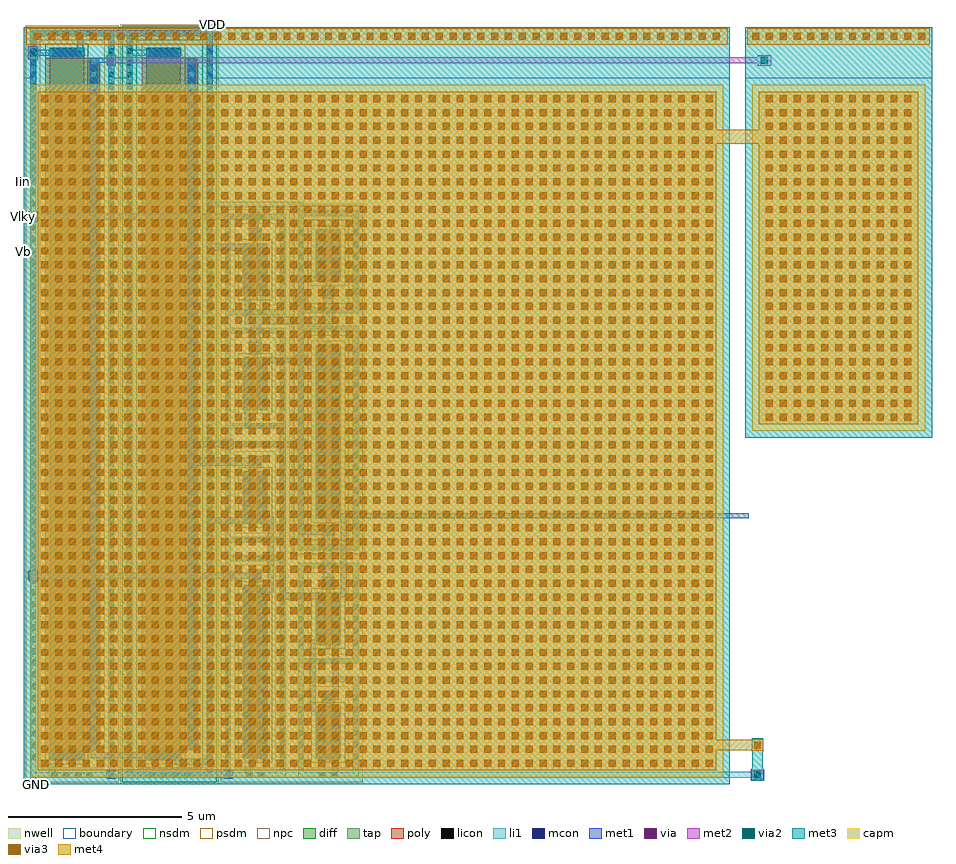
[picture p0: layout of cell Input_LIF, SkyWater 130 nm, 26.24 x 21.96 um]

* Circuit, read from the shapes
.subckt Input_LIF GND Iin VDD Vb Vlky
XM1 Iin sky130_fd_pr__nfet_01v8_84Z3BM_4/D GND GND sky130_fd_pr__nfet_01v8 w=1 l=20
XM2 sky130_fd_pr__nfet_01v8_BBX9LZ_3/D Vb GND GND sky130_fd_pr__nfet_01v8 w=5 l=0.15
XM3 sky130_fd_pr__nfet_01v8_BBX9LZ_3/D sky130_fd_pr__nfet_01v8_84Z3BM_2/D sky130_fd_pr__nfet_01v8_84Z3BM_4/D GND sky130_fd_pr__nfet_01v8 w=1.5 l=0.15
XM4 sky130_fd_pr__nfet_01v8_84Z3BM_2/D Iin sky130_fd_pr__nfet_01v8_84Z3BM_6/D GND sky130_fd_pr__nfet_01v8 w=1.5 l=0.15
XM5 GND Vlky Iin GND sky130_fd_pr__nfet_01v8 w=1.5 l=0.15
XM6 GND sky130_fd_pr__nfet_01v8_84Z3BM_7/D sky130_fd_pr__nfet_01v8_84Z3BM_6/D GND sky130_fd_pr__nfet_01v8 w=1.5 l=0.15
XM7 sky130_fd_pr__nfet_01v8_84Z3BM_7/D sky130_fd_pr__nfet_01v8_84Z3BM_2/D sky130_fd_pr__nfet_01v8_84Z3BM_6/D GND sky130_fd_pr__nfet_01v8 w=1.5 l=0.15
XM8 VDD sky130_fd_pr__nfet_01v8_84Z3BM_2/D sky130_fd_pr__nfet_01v8_84Z3BM_4/D VDD sky130_fd_pr__pfet_01v8 w=1 l=20
XM9 sky130_fd_pr__nfet_01v8_84Z3BM_7/D sky130_fd_pr__nfet_01v8_84Z3BM_2/D VDD VDD sky130_fd_pr__pfet_01v8 w=5 l=0.15
XM10 VDD Iin sky130_fd_pr__nfet_01v8_84Z3BM_2/D VDD sky130_fd_pr__pfet_01v8 w=1.5 l=0.15
XC11 GND Iin sky130_fd_pr__cap_mim_m3_1 w=20 l=20
XC12 GND sky130_fd_pr__nfet_01v8_84Z3BM_4/D sky130_fd_pr__cap_mim_m3_1 w=5 l=10
.ends

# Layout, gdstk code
from math import pi, radians
import gdstk
lib = gdstk.Library(unit=1e-6, precision=1e-09)
def R(c, l, rs):  # rectangles x0, y0, x1, y1
    for r in rs: c.add(gdstk.rectangle(r[:2], r[2:], *l))
def A(c, l, x, y, w, h, nx, ny, dx, dy):  # array of equal rectangles
    R(c, l, [(x+i*dx, y+j*dy, x+i*dx+w, y+j*dy+h) for i in range(nx) for j in range(ny)])
nwell = (64, 20)
diff = (65, 20)
tap = (65, 44)
poly = (66, 20)
licon = (66, 44)
li1 = (67, 20)
mcon = (67, 44)
met1 = (68, 20)
via = (68, 44)
met2 = (69, 20)
via2 = (69, 44)
met3 = (70, 20)
via3 = (70, 44)
met4 = (71, 20)
capm = (89, 44)
nsdm = (93, 44)
psdm = (94, 20)
npc = (95, 20)
boundary = (235, 4)

sky130_fd_pr__nfet_01v8_ = lib.new_cell('sky130_fd_pr__nfet_01v8_QXQH2M')
R(sky130_fd_pr__nfet_01v8_, diff, [(-10.29,-0.655,10.29,0.345)])
R(sky130_fd_pr__nfet_01v8_, tap, [(-10.8,-1.215,10.8,-1.045), (-10.8,-1.045,-10.63,1.045), (10.63,-1.045,10.8,1.045), (-10.8,1.045,10.8,1.215)])
R(sky130_fd_pr__nfet_01v8_, poly, [(-10,-0.785,10,0.785)])
A(sky130_fd_pr__nfet_01v8_, licon, -10.285, -1.215, 0.17, 0.17, 61, 2, 0.34, 2.26)
A(sky130_fd_pr__nfet_01v8_, licon, -10.8, -0.595, 0.17, 0.17, 1, 4, 0, 0.34)
A(sky130_fd_pr__nfet_01v8_, licon, 10.63, -0.595, 0.17, 0.17, 1, 4, 0, 0.34)
A(sky130_fd_pr__nfet_01v8_, licon, -10.23, -0.58, 0.17, 0.17, 1, 3, 0, 0.34)
A(sky130_fd_pr__nfet_01v8_, licon, 10.06, -0.58, 0.17, 0.17, 1, 3, 0, 0.34)
A(sky130_fd_pr__nfet_01v8_, licon, -9.775, 0.535, 0.17, 0.17, 58, 1, 0.34, 0)
R(sky130_fd_pr__nfet_01v8_, li1, [(-10.8,-1.215,10.8,-1.045), (-10.8,-1.045,-10.63,1.045), (10.63,-1.045,10.8,1.045), (-10.23,-0.675,-10.06,0.365), (10.06,-0.675,10.23,0.365), (-10,0.535,10,0.705), (-10.8,1.045,10.8,1.215)])
A(sky130_fd_pr__nfet_01v8_, mcon, -9.805, 0.535, 0.17, 0.17, 55, 1, 0.36, 0)
R(sky130_fd_pr__nfet_01v8_, mcon, [(-10.23,-0.42,-10.06,-0.25), (10.06,-0.42,10.23,-0.25), (-10.23,-0.06,-10.06,0.11), (10.06,-0.06,10.23,0.11)])
R(sky130_fd_pr__nfet_01v8_, met1, [(-10.26,-0.655,-10.03,0.345), (10.03,-0.655,10.26,0.345), (-9.98,0.505,9.98,0.735)])
R(sky130_fd_pr__nfet_01v8_, nsdm, [(-10.415,-0.78,10.415,0.47)])
R(sky130_fd_pr__nfet_01v8_, psdm, [(-10.925,-1.34,10.925,-0.92), (-10.925,-0.92,-10.505,0.92), (10.505,-0.92,10.925,0.92), (-10.925,0.92,10.925,1.34)])
R(sky130_fd_pr__nfet_01v8_, npc, [(-9.875,0.435,9.875,0.805)])
R(sky130_fd_pr__nfet_01v8_, boundary, [(-10.715,-1.13,10.715,1.13)])
sky130_fd_pr__nfet_01v8_.add(gdstk.Label('D', (-10.145,-0.155), layer=68, texttype=5))
sky130_fd_pr__nfet_01v8_.add(gdstk.Label('G', (-0.015,0.62), layer=68, texttype=5))
sky130_fd_pr__nfet_01v8_.add(gdstk.Label('S', (10.145,-0.155), layer=68, texttype=5))
sky130_fd_pr__nfet_01v8_.add(gdstk.Label('B', (10.715,0.005), layer=67, texttype=5))

sky130_fd_pr__pfet_01v8_ = lib.new_cell('sky130_fd_pr__pfet_01v8_ZMS3C4')
R(sky130_fd_pr__pfet_01v8_, nwell, [(-10.98,-1.42,10.98,1.42)])
R(sky130_fd_pr__pfet_01v8_, diff, [(-10.29,-0.68,10.29,0.32)])
R(sky130_fd_pr__pfet_01v8_, tap, [(-10.8,-1.24,10.8,-1.07), (-10.8,-1.07,-10.63,1.07), (10.63,-1.07,10.8,1.07), (-10.8,1.07,10.8,1.24)])
R(sky130_fd_pr__pfet_01v8_, poly, [(-10,-0.81,10,0.805)])
A(sky130_fd_pr__pfet_01v8_, licon, -10.285, -1.24, 0.17, 0.17, 61, 2, 0.34, 2.31)
A(sky130_fd_pr__pfet_01v8_, licon, -10.23, -0.605, 0.17, 0.17, 1, 3, 0, 0.34)
A(sky130_fd_pr__pfet_01v8_, licon, 10.06, -0.605, 0.17, 0.17, 1, 3, 0, 0.34)
A(sky130_fd_pr__pfet_01v8_, licon, -10.8, -0.595, 0.17, 0.17, 1, 4, 0, 0.34)
A(sky130_fd_pr__pfet_01v8_, licon, 10.63, -0.595, 0.17, 0.17, 1, 4, 0, 0.34)
A(sky130_fd_pr__pfet_01v8_, licon, -9.775, 0.555, 0.17, 0.17, 58, 1, 0.34, 0)
R(sky130_fd_pr__pfet_01v8_, li1, [(-10.8,-1.24,10.8,-1.07), (-10.8,-1.07,-10.63,1.07), (10.63,-1.07,10.8,1.07), (-10.23,-0.7,-10.06,0.34), (10.06,-0.7,10.23,0.34), (-10,0.555,10,0.725), (-10.8,1.07,10.8,1.24)])
A(sky130_fd_pr__pfet_01v8_, mcon, -9.805, 0.555, 0.17, 0.17, 55, 1, 0.36, 0)
R(sky130_fd_pr__pfet_01v8_, mcon, [(-10.23,-0.445,-10.06,-0.275), (10.06,-0.445,10.23,-0.275), (-10.23,-0.085,-10.06,0.085), (10.06,-0.085,10.23,0.085)])
R(sky130_fd_pr__pfet_01v8_, met1, [(-10.26,-0.68,-10.03,0.32), (10.03,-0.68,10.26,0.32), (-9.98,0.525,9.98,0.755)])
R(sky130_fd_pr__pfet_01v8_, nsdm, [(-10.925,-1.365,10.925,-0.945), (-10.925,-0.945,-10.505,0.945), (10.505,-0.945,10.925,0.945), (-10.925,0.945,10.925,1.365)])
R(sky130_fd_pr__pfet_01v8_, psdm, [(-10.415,-0.805,10.415,0.445)])
R(sky130_fd_pr__pfet_01v8_, npc, [(-9.875,0.455,9.875,0.825)])
R(sky130_fd_pr__pfet_01v8_, boundary, [(-10.715,-1.155,10.715,1.155)])
sky130_fd_pr__pfet_01v8_.add(gdstk.Label('G', (-0.015,0.63), layer=68, texttype=5))
sky130_fd_pr__pfet_01v8_.add(gdstk.Label('S', (-10.15,-0.185), layer=68, texttype=5))
sky130_fd_pr__pfet_01v8_.add(gdstk.Label('D', (10.155,-0.17), layer=68, texttype=5))
sky130_fd_pr__pfet_01v8_.add(gdstk.Label('B', (-10.725,-0.02), layer=67, texttype=5))

c_sky130_fd_pr__nfet_01v8_ = lib.new_cell('sky130_fd_pr__nfet_01v8_84Z3BM')
R(c_sky130_fd_pr__nfet_01v8_, diff, [(-0.365,-0.905,0.365,0.595)])
R(c_sky130_fd_pr__nfet_01v8_, tap, [(-0.875,-1.465,0.875,-1.295), (-0.875,-1.295,-0.705,1.295), (0.705,-1.295,0.875,1.295), (-0.875,1.295,0.875,1.465)])
R(c_sky130_fd_pr__nfet_01v8_, poly, [(-0.075,-1.035,0.075,0.705), (-0.165,0.705,0.165,1.035)])
A(c_sky130_fd_pr__nfet_01v8_, licon, -0.875, -0.935, 0.17, 0.17, 1, 6, 0, 0.34)
A(c_sky130_fd_pr__nfet_01v8_, licon, 0.705, -0.935, 0.17, 0.17, 1, 6, 0, 0.34)
A(c_sky130_fd_pr__nfet_01v8_, licon, -0.305, -0.75, 0.17, 0.17, 1, 4, 0, 0.34)
A(c_sky130_fd_pr__nfet_01v8_, licon, 0.135, -0.75, 0.17, 0.17, 1, 4, 0, 0.34)
R(c_sky130_fd_pr__nfet_01v8_, licon, [(-0.255,-1.465,-0.085,-1.295), (0.085,-1.465,0.255,-1.295), (-0.085,0.785,0.085,0.955), (-0.255,1.295,-0.085,1.465), (0.085,1.295,0.255,1.465)])
R(c_sky130_fd_pr__nfet_01v8_, li1, [(-0.875,-1.465,0.875,-1.295), (-0.875,-1.295,-0.705,1.295), (0.705,-1.295,0.875,1.295), (-0.305,-0.925,-0.135,0.615), (0.135,-0.925,0.305,0.615), (-0.165,0.785,0.165,0.955), (-0.875,1.295,0.875,1.465)])
A(c_sky130_fd_pr__nfet_01v8_, mcon, -0.305, -0.78, 0.17, 0.17, 1, 4, 0, 0.36)
A(c_sky130_fd_pr__nfet_01v8_, mcon, 0.135, -0.78, 0.17, 0.17, 1, 4, 0, 0.36)
R(c_sky130_fd_pr__nfet_01v8_, mcon, [(-0.085,0.785,0.085,0.955)])
R(c_sky130_fd_pr__nfet_01v8_, met1, [(-0.335,-0.905,-0.105,0.595), (0.105,-0.905,0.335,0.595), (-0.145,0.755,0.145,0.985)])
R(c_sky130_fd_pr__nfet_01v8_, nsdm, [(-0.49,-1.03,0.49,0.72)])
R(c_sky130_fd_pr__nfet_01v8_, psdm, [(-1,-1.59,1,-1.17), (-1,-1.17,-0.58,1.17), (0.58,-1.17,1,1.17), (-1,1.17,1,1.59)])
R(c_sky130_fd_pr__nfet_01v8_, npc, [(-0.185,0.685,0.185,1.055)])
R(c_sky130_fd_pr__nfet_01v8_, boundary, [(-0.79,-1.38,0.79,1.38)])
c_sky130_fd_pr__nfet_01v8_.add(gdstk.Label('D', (-0.215,-0.13), layer=68, texttype=5))
c_sky130_fd_pr__nfet_01v8_.add(gdstk.Label('S', (0.225,-0.13), layer=68, texttype=5))
c_sky130_fd_pr__nfet_01v8_.add(gdstk.Label('G', (-0.005,0.86), layer=68, texttype=5))
c_sky130_fd_pr__nfet_01v8_.add(gdstk.Label('B', (0,1.38), layer=67, texttype=5))

c_sky130_fd_pr__nfet_01v8__ = lib.new_cell('sky130_fd_pr__nfet_01v8_BBX9LZ')
R(c_sky130_fd_pr__nfet_01v8__, diff, [(-0.365,-2.655,0.365,2.345)])
R(c_sky130_fd_pr__nfet_01v8__, tap, [(-0.875,-3.215,0.875,-3.045), (-0.875,-3.045,-0.705,3.045), (0.705,-3.045,0.875,3.045), (-0.875,3.045,0.875,3.215)])
R(c_sky130_fd_pr__nfet_01v8__, poly, [(-0.075,-2.785,0.075,2.455), (-0.165,2.455,0.165,2.785)])
A(c_sky130_fd_pr__nfet_01v8__, licon, -0.875, -2.635, 0.17, 0.17, 1, 16, 0, 0.34)
A(c_sky130_fd_pr__nfet_01v8__, licon, 0.705, -2.635, 0.17, 0.17, 1, 16, 0, 0.34)
A(c_sky130_fd_pr__nfet_01v8__, licon, -0.305, -2.45, 0.17, 0.17, 1, 14, 0, 0.34)
A(c_sky130_fd_pr__nfet_01v8__, licon, 0.135, -2.45, 0.17, 0.17, 1, 14, 0, 0.34)
R(c_sky130_fd_pr__nfet_01v8__, licon, [(-0.255,-3.215,-0.085,-3.045), (0.085,-3.215,0.255,-3.045), (-0.085,2.535,0.085,2.705), (-0.255,3.045,-0.085,3.215), (0.085,3.045,0.255,3.215)])
R(c_sky130_fd_pr__nfet_01v8__, li1, [(-0.875,-3.215,0.875,-3.045), (-0.875,-3.045,-0.705,3.045), (0.705,-3.045,0.875,3.045), (-0.305,-2.675,-0.135,2.365), (0.135,-2.675,0.305,2.365), (-0.165,2.535,0.165,2.705), (-0.875,3.045,0.875,3.215)])
A(c_sky130_fd_pr__nfet_01v8__, mcon, -0.305, -2.58, 0.17, 0.17, 1, 14, 0, 0.36)
A(c_sky130_fd_pr__nfet_01v8__, mcon, 0.135, -2.58, 0.17, 0.17, 1, 14, 0, 0.36)
R(c_sky130_fd_pr__nfet_01v8__, mcon, [(-0.085,2.535,0.085,2.705)])
R(c_sky130_fd_pr__nfet_01v8__, met1, [(-0.335,-2.655,-0.105,2.345), (0.105,-2.655,0.335,2.345), (-0.145,2.505,0.145,2.735)])
R(c_sky130_fd_pr__nfet_01v8__, nsdm, [(-0.49,-2.78,0.49,2.47)])
R(c_sky130_fd_pr__nfet_01v8__, psdm, [(-1,-3.34,1,-2.92), (-1,-2.92,-0.58,2.92), (0.58,-2.92,1,2.92), (-1,2.92,1,3.34)])
R(c_sky130_fd_pr__nfet_01v8__, npc, [(-0.185,2.435,0.185,2.805)])
R(c_sky130_fd_pr__nfet_01v8__, boundary, [(-0.79,-3.13,0.79,3.13)])
c_sky130_fd_pr__nfet_01v8__.add(gdstk.Label('S', (-0.22,-0.155), layer=68, texttype=5))
c_sky130_fd_pr__nfet_01v8__.add(gdstk.Label('D', (0.22,-0.15), layer=68, texttype=5))
c_sky130_fd_pr__nfet_01v8__.add(gdstk.Label('G', (0,2.62), layer=68, texttype=5))
c_sky130_fd_pr__nfet_01v8__.add(gdstk.Label('B', (0,-3.13), layer=67, texttype=5))

c_sky130_fd_pr__pfet_01v8_ = lib.new_cell('sky130_fd_pr__pfet_01v8_MGSVTG')
R(c_sky130_fd_pr__pfet_01v8_, nwell, [(-1.055,-3.42,1.055,3.42)])
R(c_sky130_fd_pr__pfet_01v8_, diff, [(-0.365,-2.32,0.365,2.68)])
R(c_sky130_fd_pr__pfet_01v8_, tap, [(-0.875,-3.24,0.875,-3.07), (-0.875,-3.07,-0.705,3.07), (0.705,-3.07,0.875,3.07), (-0.875,3.07,0.875,3.24)])
R(c_sky130_fd_pr__pfet_01v8_, poly, [(-0.165,-2.805,0.165,-2.475), (-0.075,-2.475,0.075,2.81)])
A(c_sky130_fd_pr__pfet_01v8_, licon, -0.875, -2.635, 0.17, 0.17, 1, 16, 0, 0.34)
A(c_sky130_fd_pr__pfet_01v8_, licon, 0.705, -2.635, 0.17, 0.17, 1, 16, 0, 0.34)
A(c_sky130_fd_pr__pfet_01v8_, licon, -0.305, -2.115, 0.17, 0.17, 1, 14, 0, 0.34)
A(c_sky130_fd_pr__pfet_01v8_, licon, 0.135, -2.115, 0.17, 0.17, 1, 14, 0, 0.34)
R(c_sky130_fd_pr__pfet_01v8_, licon, [(-0.255,-3.24,-0.085,-3.07), (0.085,-3.24,0.255,-3.07), (-0.085,-2.725,0.085,-2.555), (-0.255,3.07,-0.085,3.24), (0.085,3.07,0.255,3.24)])
R(c_sky130_fd_pr__pfet_01v8_, li1, [(-0.875,-3.24,0.875,-3.07), (-0.875,-3.07,-0.705,3.07), (0.705,-3.07,0.875,3.07), (-0.165,-2.725,0.165,-2.555), (-0.305,-2.34,-0.135,2.7), (0.135,-2.34,0.305,2.7), (-0.875,3.07,0.875,3.24)])
A(c_sky130_fd_pr__pfet_01v8_, mcon, -0.305, -2.245, 0.17, 0.17, 1, 14, 0, 0.36)
A(c_sky130_fd_pr__pfet_01v8_, mcon, 0.135, -2.245, 0.17, 0.17, 1, 14, 0, 0.36)
R(c_sky130_fd_pr__pfet_01v8_, mcon, [(-0.085,-2.725,0.085,-2.555)])
R(c_sky130_fd_pr__pfet_01v8_, met1, [(-0.145,-2.755,0.145,-2.525), (-0.335,-2.32,-0.105,2.68), (0.105,-2.32,0.335,2.68)])
R(c_sky130_fd_pr__pfet_01v8_, nsdm, [(-1,-3.365,1,-2.945), (-1,-2.945,-0.58,2.945), (0.58,-2.945,1,2.945), (-1,2.945,1,3.365)])
R(c_sky130_fd_pr__pfet_01v8_, psdm, [(-0.49,-2.445,0.49,2.805)])
R(c_sky130_fd_pr__pfet_01v8_, npc, [(-0.185,-2.825,0.185,-2.455)])
R(c_sky130_fd_pr__pfet_01v8_, boundary, [(-0.79,-3.155,0.79,3.155)])
c_sky130_fd_pr__pfet_01v8_.add(gdstk.Label('D', (-0.225,0.17), layer=68, texttype=5))
c_sky130_fd_pr__pfet_01v8_.add(gdstk.Label('S', (0.22,0.165), layer=68, texttype=5))
c_sky130_fd_pr__pfet_01v8_.add(gdstk.Label('G', (0,-2.645), layer=68, texttype=5))
c_sky130_fd_pr__pfet_01v8_.add(gdstk.Label('B', (0,-3.155), layer=67, texttype=5))

c_sky130_fd_pr__pfet_01v8__ = lib.new_cell('sky130_fd_pr__pfet_01v8_LJP3BL')
R(c_sky130_fd_pr__pfet_01v8__, nwell, [(-1.055,-1.67,1.055,1.67)])
R(c_sky130_fd_pr__pfet_01v8__, diff, [(-0.365,-0.57,0.365,0.93)])
R(c_sky130_fd_pr__pfet_01v8__, tap, [(-0.875,-1.49,0.875,-1.32), (-0.875,-1.32,-0.705,1.32), (0.705,-1.32,0.875,1.32), (-0.875,1.32,0.875,1.49)])
R(c_sky130_fd_pr__pfet_01v8__, poly, [(-0.165,-1.055,0.165,-0.725), (-0.075,-0.725,0.075,1.06)])
A(c_sky130_fd_pr__pfet_01v8__, licon, -0.875, -0.935, 0.17, 0.17, 1, 6, 0, 0.34)
A(c_sky130_fd_pr__pfet_01v8__, licon, 0.705, -0.935, 0.17, 0.17, 1, 6, 0, 0.34)
A(c_sky130_fd_pr__pfet_01v8__, licon, -0.305, -0.415, 0.17, 0.17, 1, 4, 0, 0.34)
A(c_sky130_fd_pr__pfet_01v8__, licon, 0.135, -0.415, 0.17, 0.17, 1, 4, 0, 0.34)
R(c_sky130_fd_pr__pfet_01v8__, licon, [(-0.255,-1.49,-0.085,-1.32), (0.085,-1.49,0.255,-1.32), (-0.085,-0.975,0.085,-0.805), (-0.255,1.32,-0.085,1.49), (0.085,1.32,0.255,1.49)])
R(c_sky130_fd_pr__pfet_01v8__, li1, [(-0.875,-1.49,0.875,-1.32), (-0.875,-1.32,-0.705,1.32), (0.705,-1.32,0.875,1.32), (-0.165,-0.975,0.165,-0.805), (-0.305,-0.59,-0.135,0.95), (0.135,-0.59,0.305,0.95), (-0.875,1.32,0.875,1.49)])
A(c_sky130_fd_pr__pfet_01v8__, mcon, -0.305, -0.445, 0.17, 0.17, 1, 4, 0, 0.36)
A(c_sky130_fd_pr__pfet_01v8__, mcon, 0.135, -0.445, 0.17, 0.17, 1, 4, 0, 0.36)
R(c_sky130_fd_pr__pfet_01v8__, mcon, [(-0.085,-0.975,0.085,-0.805)])
R(c_sky130_fd_pr__pfet_01v8__, met1, [(-0.145,-1.005,0.145,-0.775), (-0.335,-0.57,-0.105,0.93), (0.105,-0.57,0.335,0.93)])
R(c_sky130_fd_pr__pfet_01v8__, nsdm, [(-1,-1.615,1,-1.195), (-1,-1.195,-0.58,1.195), (0.58,-1.195,1,1.195), (-1,1.195,1,1.615)])
R(c_sky130_fd_pr__pfet_01v8__, psdm, [(-0.49,-0.695,0.49,1.055)])
R(c_sky130_fd_pr__pfet_01v8__, npc, [(-0.185,-1.075,0.185,-0.705)])
R(c_sky130_fd_pr__pfet_01v8__, boundary, [(-0.79,-1.405,0.79,1.405)])
c_sky130_fd_pr__pfet_01v8__.add(gdstk.Label('D', (-0.215,0.19), layer=68, texttype=5))
c_sky130_fd_pr__pfet_01v8__.add(gdstk.Label('S', (0.225,0.19), layer=68, texttype=5))
c_sky130_fd_pr__pfet_01v8__.add(gdstk.Label('G', (0,-0.905), layer=68, texttype=5))
c_sky130_fd_pr__pfet_01v8__.add(gdstk.Label('B', (0.02,-1.41), layer=67, texttype=5))

sky130_fd_pr__cap_mim_m3 = lib.new_cell('sky130_fd_pr__cap_mim_m3_1_EYXEMC')
R(sky130_fd_pr__cap_mim_m3, met3, [(-5.93,-2.7,5.93,2.7)])
A(sky130_fd_pr__cap_mim_m3, via3, 5.57, -2.5, 0.2, 0.2, 1, 13, 0, 0.4)
A(sky130_fd_pr__cap_mim_m3, via3, -5.43, -2.1, 0.2, 0.2, 24, 11, 0.4, 0.4)
R(sky130_fd_pr__cap_mim_m3, met4, [(5.43,-2.64,5.91,2.64), (-5.535,-2.305,4.075,2.305)])
R(sky130_fd_pr__cap_mim_m3, capm, [(-5.73,-2.5,4.27,2.5)])
R(sky130_fd_pr__cap_mim_m3, boundary, [(-5.93,-2.7,4.47,2.7)])
sky130_fd_pr__cap_mim_m3.add(gdstk.Label('c0', (-3.295,-0.5), layer=70, texttype=5))
sky130_fd_pr__cap_mim_m3.add(gdstk.Label('c1', (-1.14,0.255), layer=71, texttype=5))

c_sky130_fd_pr__cap_mim_m3 = lib.new_cell('sky130_fd_pr__cap_mim_m3_1_BNHTNG')
R(c_sky130_fd_pr__cap_mim_m3, met3, [(-10.93,-10.2,10.93,10.2)])
A(c_sky130_fd_pr__cap_mim_m3, via3, 10.57, -9.9, 0.2, 0.2, 1, 50, 0, 0.4)
A(c_sky130_fd_pr__cap_mim_m3, via3, -10.43, -9.7, 0.2, 0.2, 49, 49, 0.4, 0.4)
R(c_sky130_fd_pr__cap_mim_m3, met4, [(10.43,-10.14,10.91,10.14), (-10.535,-9.805,9.075,9.805)])
R(c_sky130_fd_pr__cap_mim_m3, capm, [(-10.73,-10,9.27,10)])
R(c_sky130_fd_pr__cap_mim_m3, boundary, [(-10.93,-10.2,9.47,10.2)])
c_sky130_fd_pr__cap_mim_m3.add(gdstk.Label('c0', (-7.58,-5.085), layer=70, texttype=5))
c_sky130_fd_pr__cap_mim_m3.add(gdstk.Label('c1', (-6.445,-6.43), layer=71, texttype=5))

input_lif = lib.new_cell('Input_LIF')
A(input_lif, li1, 18.345, 28.07, 0.17, 0.7, 1, 3, 0, 3.29)
R(input_lif, li1, [(12.715,21.63,13.065,21.98), (13.255,21.81,13.435,22.55), (14.975,21.81,15.145,21.98), (18.345,21.81,18.515,21.98), (18.915,21.81,19.085,22.43), (19.925,21.81,20.625,21.98), (21.465,21.81,21.635,22.43), (22.035,21.81,33.815,21.98), (20.455,24.57,20.625,25.27), (21.025,34.125,21.195,34.87), (20.455,34.7,20.625,35.4), (19.355,35.18,19.525,35.8), (21.465,37.515,21.635,38.21), (20.455,38.04,20.625,38.29), (17.815,38.29,20.625,38.41), (17.985,38.41,20.625,38.46), (15.505,42.67,16.485,42.84), (17.815,43.24,18.165,43.59)])
R(input_lif, mcon, [(14.975,21.81,15.145,21.98), (18.345,21.81,18.515,21.98), (33.645,21.81,33.815,21.98)])
R(input_lif, met1, [(33.535,21.745,33.925,22.045), (14.915,21.78,15.205,21.81), (18.315,21.78,18.575,21.81), (14.915,21.81,18.575,21.98), (14.915,21.98,15.205,22.01), (18.315,21.98,18.575,22.01), (16.89,22.185,17.985,22.355), (17.815,22.355,17.985,29.16), (14.465,22.38,16.125,22.55), (14.465,22.55,14.665,22.69), (20.795,23.725,21.195,23.87), (20.795,23.87,20.965,25.66), (21.465,24.06,21.635,25.78), (20.795,25.66,21.195,25.805), (19.925,26.975,21.195,27.16), (21.435,27.02,21.865,27.16), (19.325,27.16,19.755,27.37), (19.925,27.16,20.095,31.89), (21.695,27.16,21.865,29.31), (21.185,27.32,21.475,28.825), (19.585,27.37,19.755,29.16), (12.67,27.485,12.93,27.805), (18.3,27.485,18.56,27.56), (17.3,27.53,17.5,27.76), (19.075,27.53,19.365,27.56), (18.3,27.56,19.365,27.73), (18.3,27.73,18.56,27.805), (19.075,27.73,19.365,27.76), (12.715,27.805,12.885,36.94), (20.455,28.825,21.475,29.105), (20.455,29.105,20.625,31.285), (17.815,29.16,19.085,29.335), (19.325,29.16,19.755,29.37), (21.435,29.31,33.48,29.45), (17.47,30.82,19.365,31.05), (20.41,31.285,20.67,31.605), (18.265,31.315,18.585,31.36), (17.3,31.36,18.585,31.53), (18.265,31.53,18.585,31.575), (20.455,31.605,20.625,33.76), (18.915,31.89,20.095,32.06), (18.915,32.06,19.085,32.56), (19.355,32.45,19.525,32.51), (20.375,33.76,20.695,33.8), (19.355,33.8,20.695,33.95), (20.375,33.95,20.695,34.02), (19.075,34.11,19.365,34.92), (18.915,34.92,21.475,35.125), (18.915,35.125,19.085,35.825), (21.185,35.125,21.475,35.945), (20.405,35.42,20.665,35.74), (20.455,35.74,20.625,36.15), (20.455,36.15,21.195,36.3), (12.535,36.94,12.885,37.11), (17.815,37.035,19.085,37.24), (17.815,37.24,17.985,43.24), (19.075,37.4,19.365,37.63), (19.135,37.63,19.305,37.865), (12.67,37.865,12.93,37.94), (19.09,37.865,19.35,38.185), (12.535,37.94,12.93,38.11), (12.67,38.11,12.93,38.185), (12.535,38.94,12.885,39.11), (12.715,39.11,12.885,42.56), (14.93,42.38,15.19,42.47), (14.435,42.47,15.19,42.61), (12.65,42.56,12.95,42.67), (14.93,42.61,15.19,42.7), (12.65,42.67,13.34,42.84), (14.08,42.735,14.25,43.24), (12.65,42.84,12.95,42.95), (14.08,43.24,17.985,43.41)])
R(input_lif, via, [(33.655,21.82,33.805,21.97), (12.725,27.57,12.875,27.72), (18.355,27.57,18.505,27.72), (18.35,31.37,18.5,31.52), (20.465,31.37,20.615,31.52), (20.46,33.815,20.61,33.965), (20.46,35.505,20.61,35.655), (12.725,37.95,12.875,38.1), (19.145,37.95,19.295,38.1), (14.985,42.465,15.135,42.615), (12.725,42.68,12.875,42.83)])
R(input_lif, met2, [(33.535,21.745,33.925,22.045), (18.3,27.485,18.56,27.56), (12.64,27.515,12.96,27.56), (12.64,27.56,18.56,27.73), (12.64,27.73,12.96,27.775), (18.3,27.73,18.56,27.805), (18.295,31.285,18.555,31.36), (20.38,31.315,20.7,31.36), (18.295,31.36,20.7,31.53), (18.295,31.53,18.555,31.605), (20.38,31.53,20.7,31.575), (20.405,33.73,20.665,34.05), (20.46,34.05,20.61,35.45), (20.375,35.45,20.695,35.71), (19.09,37.865,19.35,37.94), (12.64,37.895,12.96,37.94), (12.64,37.94,19.35,38.11), (12.64,38.11,12.96,38.155), (19.09,38.11,19.35,38.185), (14.93,42.38,15.19,42.455), (33.735,42.39,34.125,42.455), (14.93,42.455,34.125,42.625), (12.65,42.56,12.95,42.95), (14.93,42.625,15.19,42.7), (33.735,42.625,34.125,42.69)])
R(input_lif, via2, [(33.63,21.795,33.83,21.995), (33.83,42.44,34.03,42.64), (12.7,42.655,12.9,42.855)])
R(input_lif, met3, [(33.555,21.72,33.905,22.07), (33.58,22.07,33.88,22.565), (33.57,22.565,33.89,22.945), (13.585,42.11,13.885,42.605), (33.755,42.365,34.105,42.39), (33.755,42.39,35.405,42.69), (12.625,42.58,12.975,42.605), (12.625,42.605,13.885,42.905), (33.755,42.69,34.105,42.715), (12.625,42.905,12.975,42.93)])
R(input_lif, via3, [(33.63,22.655,33.83,22.855)])
R(input_lif, met4, [(33.565,22.59,33.895,22.605), (32.1,22.605,33.895,22.905), (33.565,22.905,33.895,22.92), (32.08,40.125,34.255,40.53)])
R(input_lif, nsdm, [(20.33,34.995,22.33,35.105)])
R(input_lif, psdm, [(20.22,21.685,20.33,24.865), (20.22,24.865,22.33,24.975), (20.22,24.975,20.33,28.155), (20.22,28.155,20.71,28.265), (20.22,28.265,20.33,28.365), (18.22,28.365,20.33,28.475), (20.22,28.475,20.33,28.505), (18.22,31.655,20.22,31.765), (18.22,34.945,20.22,35.055)])
input_lif.add(gdstk.Reference(sky130_fd_pr__nfet_01v8_, (13.93,32.61), rotation=3*pi/2))
input_lif.add(gdstk.Reference(sky130_fd_pr__pfet_01v8_, (16.745,32.61), rotation=3*pi/2))
input_lif.add(gdstk.Reference(c_sky130_fd_pr__nfet_01v8_, (19.22,33.355), rotation=pi, x_reflection=True))
input_lif.add(gdstk.Reference(c_sky130_fd_pr__nfet_01v8__, (19.22,25.025)))
input_lif.add(gdstk.Reference(c_sky130_fd_pr__nfet_01v8_, (19.22,30.065)))
input_lif.add(gdstk.Reference(c_sky130_fd_pr__nfet_01v8_, (19.22,36.645)))
input_lif.add(gdstk.Reference(c_sky130_fd_pr__nfet_01v8_, (21.33,23.275)))
input_lif.add(gdstk.Reference(c_sky130_fd_pr__nfet_01v8_, (21.33,26.565), rotation=pi, x_reflection=True))
input_lif.add(gdstk.Reference(c_sky130_fd_pr__pfet_01v8_, (21.33,31.63)))
input_lif.add(gdstk.Reference(c_sky130_fd_pr__pfet_01v8__, (21.33,36.72)))
input_lif.add(gdstk.Reference(sky130_fd_pr__cap_mim_m3, (36.075,37.56), rotation=pi/2))
input_lif.add(gdstk.Reference(c_sky130_fd_pr__cap_mim_m3, (22.735,32.56), rotation=pi/2, x_reflection=True))
input_lif.add(gdstk.Label('GND', (12.89,21.63), layer=67, texttype=5))
input_lif.add(gdstk.Label('VDD', (17.99,43.59), layer=67, texttype=5))
input_lif.add(gdstk.Label('Iin', (12.535,39.025), layer=68, texttype=5))
input_lif.add(gdstk.Label('Vlky', (12.535,38.025), layer=68, texttype=5))
input_lif.add(gdstk.Label('Vb', (12.535,37.025), layer=68, texttype=5))

lib.write_gds('Input_LIF.gds')
